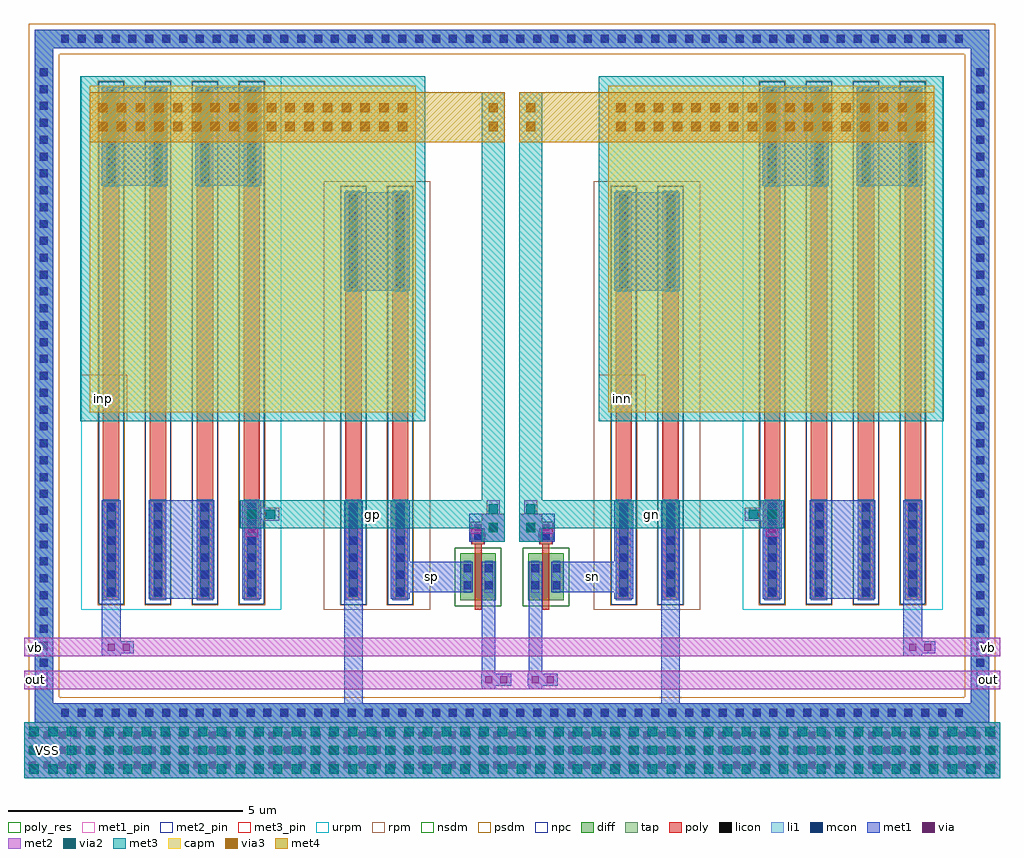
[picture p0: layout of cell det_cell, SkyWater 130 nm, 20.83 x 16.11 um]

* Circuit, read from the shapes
.subckt det_cell VSS gn gp inn inp out sn sp vb
XM1 out gp sp VSS sky130_fd_pr__nfet_01v8 w=1 l=0.15
XM2 sn gn out VSS sky130_fd_pr__nfet_01v8 w=1 l=0.15
XC3 gp inp sky130_fd_pr__cap_mim_m3_1 w=6.965 l=6.965
XC4 gn inn sky130_fd_pr__cap_mim_m3_1 w=6.965 l=6.965
XR5 n1 vb VSS sky130_fd_pr__res_xhigh_po w=0.35 l=6.66
XR6 n1 n2 VSS sky130_fd_pr__res_xhigh_po w=0.35 l=6.66
XR7 n3 n2 VSS sky130_fd_pr__res_xhigh_po w=0.35 l=6.66
XR8 n3 gp VSS sky130_fd_pr__res_xhigh_po w=0.35 l=6.66
XR9 n4 VSS VSS sky130_fd_pr__res_high_po w=0.35 l=4.42
XR10 n4 sp VSS sky130_fd_pr__res_high_po w=0.35 l=4.42
XR11 n5 sn VSS sky130_fd_pr__res_high_po w=0.35 l=4.42
XR12 n5 VSS VSS sky130_fd_pr__res_high_po w=0.35 l=4.42
XR13 n6 gn VSS sky130_fd_pr__res_xhigh_po w=0.35 l=6.66
XR14 n6 n7 VSS sky130_fd_pr__res_xhigh_po w=0.35 l=6.66
XR15 n8 n7 VSS sky130_fd_pr__res_xhigh_po w=0.35 l=6.66
XR16 n8 vb VSS sky130_fd_pr__res_xhigh_po w=0.35 l=6.66
.ends

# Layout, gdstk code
import gdstk
lib = gdstk.Library(unit=1e-6, precision=1e-09)
def R(c, l, rs):  # rectangles x0, y0, x1, y1
    for r in rs: c.add(gdstk.rectangle(r[:2], r[2:], *l))
def A(c, l, x, y, w, h, nx, ny, dx, dy):  # array of equal rectangles
    R(c, l, [(x+i*dx, y+j*dy, x+i*dx+w, y+j*dy+h) for i in range(nx) for j in range(ny)])
def P(c, l, *ps):  # polygons
    for p in ps: c.add(gdstk.Polygon(p, *l))
diff = (65, 20)
tap = (65, 44)
poly_res = (66, 13)
poly = (66, 20)
licon = (66, 44)
li1 = (67, 20)
mcon = (67, 44)
met1_pin = (68, 16)
met1 = (68, 20)
via = (68, 44)
met2_pin = (69, 16)
met2 = (69, 20)
via2 = (69, 44)
met3_pin = (70, 16)
met3 = (70, 20)
via3 = (70, 44)
met4 = (71, 20)
urpm = (79, 20)
rpm = (86, 20)
capm = (89, 44)
nsdm = (93, 44)
psdm = (94, 20)
npc = (95, 20)

res_poly = lib.new_cell('res_poly')
R(res_poly, poly_res, [(-0.175,-3.39,0.175,3.39)])
R(res_poly, poly, [(-0.175,-5.49,0.175,5.49)])
R(res_poly, licon, [(-0.095,-5.41,0.095,-3.41), (-0.095,3.41,0.095,5.41)])
R(res_poly, li1, [(-0.175,-5.49,0.175,-3.33), (-0.175,3.33,0.175,5.49)])
A(res_poly, mcon, -0.085, -5.39, 0.17, 0.17, 1, 6, 0, 0.36)
A(res_poly, mcon, -0.085, 3.425, 0.17, 0.17, 1, 6, 0, 0.36)
R(res_poly, met1, [(-0.125,-5.455,0.125,-3.355), (-0.125,3.355,0.125,5.455)])
R(res_poly, urpm, [(-0.635,-5.69,0.635,5.69)])
R(res_poly, psdm, [(-0.285,-5.6,0.285,5.6)])
R(res_poly, npc, [(-0.27,-5.58,0.27,5.58)])

res_poly_1 = lib.new_cell('res_poly$1')
R(res_poly_1, poly_res, [(-0.175,-2.27,0.175,2.27)])
R(res_poly_1, poly, [(-0.175,-4.37,0.175,4.37)])
R(res_poly_1, licon, [(-0.095,-4.29,0.095,-2.29), (-0.095,2.29,0.095,4.29)])
R(res_poly_1, li1, [(-0.175,-4.37,0.175,-2.21), (-0.175,2.21,0.175,4.37)])
A(res_poly_1, mcon, -0.085, -4.27, 0.17, 0.17, 1, 6, 0, 0.36)
A(res_poly_1, mcon, -0.085, 2.305, 0.17, 0.17, 1, 6, 0, 0.36)
R(res_poly_1, met1, [(-0.125,-4.34,0.125,-2.235), (-0.125,2.235,0.125,4.34)])
R(res_poly_1, rpm, [(-0.635,-4.57,0.635,4.57)])
R(res_poly_1, psdm, [(-0.285,-4.48,0.285,4.48)])
R(res_poly_1, npc, [(-0.27,-4.465,0.27,4.465)])

nfet = lib.new_cell('nfet')
R(nfet, diff, [(0,0,0.75,1)])
R(nfet, poly, [(0.3,-0.2,0.45,1.2), (0.24,1.2,0.51,1.53)])
R(nfet, licon, [(0.065,0.235,0.235,0.405), (0.515,0.235,0.685,0.405), (0.065,0.595,0.235,0.765), (0.515,0.595,0.685,0.765), (0.29,1.28,0.46,1.45)])
R(nfet, li1, [(0.065,0.155,0.235,0.845), (0.515,0.155,0.685,0.845), (0.21,1.28,0.54,1.45)])
R(nfet, mcon, [(0.065,0.235,0.235,0.405), (0.515,0.235,0.685,0.405), (0.065,0.595,0.235,0.765), (0.515,0.595,0.685,0.765), (0.29,1.28,0.46,1.45)])
R(nfet, met1, [(0.035,0.175,0.265,0.825), (0.485,0.175,0.715,0.825), (0.19,1.25,0.56,1.48)])
R(nfet, nsdm, [(-0.125,-0.125,0.875,1.125)])
R(nfet, npc, [(0.23,1.19,0.52,1.54)])

det_cell = lib.new_cell('det_cell')
P(det_cell, tap, [(0.225,1.2),(0.225,15.58),(0.625,15.58),(0.625,1.6),(20.205,1.6),(20.205,15.58),(0.225,15.58),(0.225,15.98),(20.605,15.98),(20.605,1.2)])
A(det_cell, licon, 0.79, 1.315, 0.17, 0.17, 54, 2, 0.36, 14.38)
A(det_cell, licon, 0.34, 2.025, 0.17, 0.17, 1, 37, 0, 0.36)
A(det_cell, licon, 20.32, 2.025, 0.17, 0.17, 1, 37, 0, 0.36)
P(det_cell, li1, [(0.225,1.2),(0.225,15.58),(0.625,15.58),(0.625,1.6),(20.205,1.6),(20.205,15.58),(0.225,15.58),(0.225,15.98),(20.605,15.98),(20.605,1.2)])
A(det_cell, mcon, 0.79, 1.315, 0.17, 0.17, 54, 2, 0.36, 14.38)
A(det_cell, mcon, 0.34, 2.025, 0.17, 0.17, 1, 37, 0, 0.36)
A(det_cell, mcon, 20.32, 2.025, 0.17, 0.17, 1, 37, 0, 0.36)
R(det_cell, met1_pin, [(0,0,1,1.2)])
A(det_cell, met1, 1.66, 3.835, 0.4, 2.1, 4, 2, 1, 8.81)
A(det_cell, met1, 15.77, 3.835, 0.4, 2.1, 4, 2, 1, 8.81)
R(det_cell, met1, [(0,0,20.83,1.2), (0.225,1.19,20.605,1.6), (6.83,1.59,7.23,5.935), (13.6,1.59,14,5.935), (9.77,1.9,10.06,4.625), (10.77,1.9,11.06,4.625), (9.755,1.97,9.77,2.23), (10.06,1.97,10.395,2.23), (10.755,1.97,10.77,2.23), (11.06,1.97,11.395,2.23), (1.66,2.6,2.06,5.935), (18.77,2.6,19.17,5.935), (2.06,2.67,2.34,2.93), (19.17,2.67,19.45,2.93), (6.83,3.83,7.23,5.935), (7.83,3.83,8.23,5.935), (12.6,3.83,13,5.935), (13.6,3.83,14,5.935), (2.66,3.835,4.06,5.935), (16.77,3.835,18.17,5.935), (7.83,3.975,9.58,4.625), (11.25,3.975,13,4.625), (9.505,5.05,10.265,5.65), (10.565,5.05,11.325,5.65), (6.83,10.405,7.23,12.51), (6.83,10.405,8.23,12.51), (7.83,10.405,8.23,12.51), (12.6,10.405,13,12.51), (12.6,10.405,14,12.51), (13.6,10.405,14,12.51), (1.66,12.645,3.06,14.745), (3.66,12.645,5.06,14.745), (15.77,12.645,17.17,14.745), (17.77,12.645,19.17,14.745)])
P(det_cell, met1, [(0.225,1.2),(0.225,15.58),(0.625,15.58),(0.625,1.6),(20.205,1.6),(20.205,15.58),(0.225,15.58),(0.225,15.98),(20.605,15.98),(20.605,1.2)])
A(det_cell, via, 0.1, 0.205, 0.15, 0.15, 65, 3, 0.32, 0.32)
R(det_cell, via, [(9.84,2.025,9.99,2.175), (10.16,2.025,10.31,2.175), (10.84,2.025,10.99,2.175), (11.16,2.025,11.31,2.175), (1.785,2.725,1.935,2.875), (2.105,2.725,2.255,2.875), (18.895,2.725,19.045,2.875), (19.215,2.725,19.365,2.875), (4.785,5.24,4.935,5.39), (15.895,5.24,16.045,5.39), (9.62,5.275,9.77,5.425), (9.94,5.275,10.09,5.425), (10.74,5.275,10.89,5.425), (11.06,5.275,11.21,5.425), (4.785,5.56,4.935,5.71), (15.895,5.56,16.045,5.71)])
R(det_cell, met2_pin, [(0,1.9,0.5,2.3), (20.33,1.9,20.83,2.3), (0,2.6,0.5,3), (20.33,2.6,20.83,3)])
R(det_cell, met2, [(0,0,20.83,1.2), (0,1.9,20.83,2.3), (0,2.6,20.83,3), (9.765,5.05,10.265,5.65), (10.565,5.05,11.065,5.65), (4.73,5.155,4.99,5.335), (15.84,5.155,16.1,5.335), (9.535,5.22,9.765,5.48), (11.065,5.22,11.295,5.48), (4.61,5.335,5.11,5.935), (15.72,5.335,16.22,5.935), (5.11,5.495,5.445,5.775), (15.385,5.495,15.72,5.775), (9.875,5.65,10.155,5.935), (10.675,5.65,10.955,5.935)])
A(det_cell, via2, 0.115, 0.1, 0.2, 0.2, 52, 3, 0.4, 0.4)
R(det_cell, via2, [(9.915,5.25,10.115,5.45), (10.715,5.25,10.915,5.45), (4.76,5.535,4.96,5.735), (5.16,5.535,5.36,5.735), (15.47,5.535,15.67,5.735), (15.87,5.535,16.07,5.735), (9.915,5.65,10.115,5.85), (10.715,5.65,10.915,5.85)])
R(det_cell, met3_pin, [(1.2,7.615,2.2,8.615), (12.265,7.615,13.265,8.615)])
R(det_cell, met3, [(0,0,20.83,1.2), (9.765,5.05,10.265,14.64), (10.565,5.05,11.065,14.64), (4.61,5.335,10.265,5.935), (10.565,5.335,16.22,5.935), (1.2,7.615,8.565,14.98), (12.265,7.615,19.63,14.98)])
A(det_cell, via3, 1.58, 13.81, 0.2, 0.2, 17, 2, 0.4, 0.4)
A(det_cell, via3, 12.645, 13.81, 0.2, 0.2, 17, 2, 0.4, 0.4)
R(det_cell, via3, [(9.915,13.81,10.115,14.01), (10.715,13.81,10.915,14.01), (9.915,14.21,10.115,14.41), (10.715,14.21,10.915,14.41)])
R(det_cell, met4, [(1.4,13.58,10.265,14.64), (10.565,13.58,19.43,14.64)])
R(det_cell, capm, [(1.4,7.815,8.365,14.78), (12.465,7.815,19.43,14.78)])
P(det_cell, psdm, [(0.1,1.075),(0.1,15.455),(0.75,15.455),(0.75,1.725),(20.08,1.725),(20.08,15.455),(0.1,15.455),(0.1,16.105),(20.73,16.105),(20.73,1.075)])
det_cell.add(gdstk.Reference(res_poly, (1.86,9.29)))
det_cell.add(gdstk.Reference(res_poly, (2.86,9.29)))
det_cell.add(gdstk.Reference(res_poly, (3.86,9.29)))
det_cell.add(gdstk.Reference(res_poly, (4.86,9.29)))
det_cell.add(gdstk.Reference(res_poly, (15.97,9.29)))
det_cell.add(gdstk.Reference(res_poly, (16.97,9.29)))
det_cell.add(gdstk.Reference(res_poly, (17.97,9.29)))
det_cell.add(gdstk.Reference(res_poly, (18.97,9.29)))
det_cell.add(gdstk.Reference(res_poly_1, (7.03,8.17)))
det_cell.add(gdstk.Reference(res_poly_1, (8.03,8.17)))
det_cell.add(gdstk.Reference(res_poly_1, (12.8,8.17)))
det_cell.add(gdstk.Reference(res_poly_1, (13.8,8.17)))
det_cell.add(gdstk.Reference(nfet, (9.315,3.8)))
det_cell.add(gdstk.Reference(nfet, (10.765,3.8)))
det_cell.add(gdstk.Label('out', (0.25,2.1), layer=69, texttype=5))
det_cell.add(gdstk.Label('out', (20.58,2.1), layer=69, texttype=5))
det_cell.add(gdstk.Label('vb', (0.25,2.8), layer=69, texttype=5))
det_cell.add(gdstk.Label('vb', (20.58,2.8), layer=69, texttype=5))
det_cell.add(gdstk.Label('VSS', (0.5,0.6), layer=68, texttype=5))
det_cell.add(gdstk.Label('sp', (8.705,4.3), layer=68, texttype=5))
det_cell.add(gdstk.Label('sn', (12.125,4.3), layer=68, texttype=5))
det_cell.add(gdstk.Label('gp', (7.438,5.635), layer=70, texttype=5))
det_cell.add(gdstk.Label('inp', (1.7,8.115), layer=70, texttype=5))
det_cell.add(gdstk.Label('gn', (13.392,5.635), layer=70, texttype=5))
det_cell.add(gdstk.Label('inn', (12.765,8.115), layer=70, texttype=5))

lib.write_gds('det_cell.gds')
